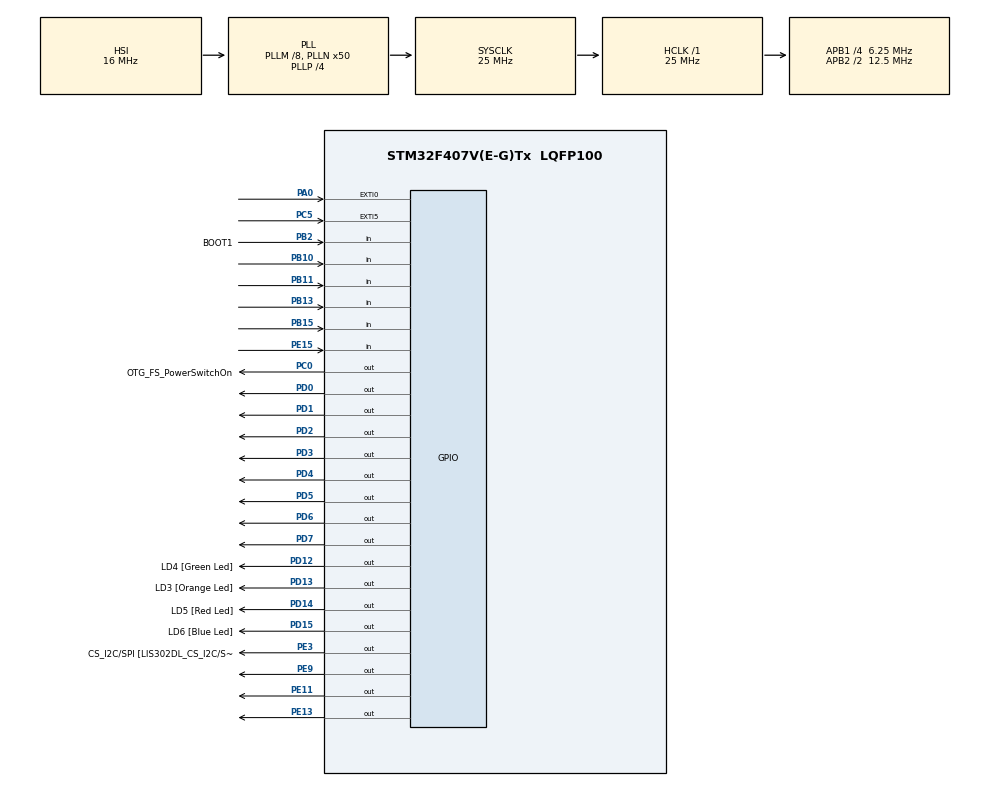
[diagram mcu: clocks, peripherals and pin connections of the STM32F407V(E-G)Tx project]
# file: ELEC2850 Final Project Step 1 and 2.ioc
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Mcu.Family=STM32F4
Mcu.Name=STM32F407V(E-G)Tx
Mcu.Package=LQFP100
NVIC.EXTI0_IRQn=true\:0\:0\:true\:false\:true\:true\:true\:true
NVIC.EXTI9_5_IRQn=true\:0\:1\:false\:false\:true\:true\:true\:true
NVIC.PriorityGroup=NVIC_PRIORITYGROUP_0
PA0-WKUP.GPIO_ModeDefaultEXTI=GPIO_MODE_IT_RISING
PA0-WKUP.GPIO_PuPd=GPIO_PULLDOWN
PA0-WKUP.Signal=GPXTI0
PA10.GPIO_Label=OTG_FS_ID
PA10.GPIO_Mode=GPIO_MODE_AF_PP
PA10.GPIO_PuPd=GPIO_NOPULL
PA10.GPIO_Speed=GPIO_SPEED_FREQ_LOW
PA10.Signal=USB_OTG_FS_ID
PA11.GPIO_Label=OTG_FS_DM
PA11.GPIO_Mode=GPIO_MODE_AF_PP
PA11.GPIO_PuPd=GPIO_NOPULL
PA11.GPIO_Speed=GPIO_SPEED_FREQ_LOW
PA11.Signal=USB_OTG_FS_DM
PA12.GPIO_Label=OTG_FS_DP
PA12.GPIO_Mode=GPIO_MODE_AF_PP
PA12.GPIO_PuPd=GPIO_NOPULL
PA12.GPIO_Speed=GPIO_SPEED_FREQ_LOW
PA12.Signal=USB_OTG_FS_DP
PA13.GPIO_Label=SWDIO
PA13.Signal=SYS_JTMS-SWDIO
PA14.GPIO_Label=SWCLK
PA14.Signal=SYS_JTCK-SWCLK
PA4.GPIO_Label=I2S3_WS [CS43L22_LRCK]
PA4.GPIO_Mode=GPIO_MODE_AF_PP
PA4.GPIO_PuPd=GPIO_NOPULL
PA4.GPIO_Speed=GPIO_SPEED_FREQ_LOW
PA4.Signal=I2S3_WS
PA5.GPIO_Label=SPI1_SCK [LIS302DL_SCL/SPC]
PA5.GPIO_Mode=GPIO_MODE_AF_PP
PA5.GPIO_PuPd=GPIO_NOPULL
PA5.GPIO_Speed=GPIO_SPEED_FREQ_LOW
PA5.Signal=SPI1_SCK
PA6.GPIO_Label=SPI1_MISO [LIS302DL_SDO]
PA6.GPIO_Mode=GPIO_MODE_AF_PP
PA6.GPIO_PuPd=GPIO_NOPULL
PA6.GPIO_Speed=GPIO_SPEED_FREQ_LOW
PA6.Signal=SPI1_MISO
PA7.GPIO_Label=SPI1_MOSI [LIS302DL_SDA/SDI/SDO]
PA7.GPIO_Mode=GPIO_MODE_AF_PP
PA7.GPIO_PuPd=GPIO_NOPULL
PA7.GPIO_Speed=GPIO_SPEED_FREQ_LOW
PA7.Signal=SPI1_MOSI
PA9.GPIO_Label=VBUS_FS
PA9.GPIO_Mode=GPIO_MODE_INPUT
PA9.GPIO_PuPd=GPIO_NOPULL
PA9.Signal=USB_OTG_FS_VBUS
PB10.GPIO_PuPd=GPIO_PULLDOWN
PB10.Signal=GPIO_Input
PB11.GPIO_PuPd=GPIO_PULLDOWN
PB11.Signal=GPIO_Input
PB13.GPIO_PuPd=GPIO_PULLDOWN
PB13.Signal=GPIO_Input
PB15.GPIO_PuPd=GPIO_PULLDOWN
PB15.Signal=GPIO_Input
PB2.GPIO_Label=BOOT1
PB2.GPIO_Mode=GPIO_MODE_INPUT
PB2.GPIO_PuPd=GPIO_NOPULL
PB2.Signal=GPIO_Input
PB3.GPIO_Label=SWO
PB3.Signal=SYS_JTDO-SWO
PB6.GPIO_Label=Audio_SCL [CS43L22_SCL]
PB6.GPIO_Mode=GPIO_MODE_AF_OD
PB6.GPIO_PuPd=GPIO_NOPULL
PB6.GPIO_Speed=GPIO_SPEED_FREQ_LOW
PB6.Signal=I2C1_SCL
PB9.GPIO_Label=Audio_SDA [CS43L22_SDA]
PB9.GPIO_Mode=GPIO_MODE_AF_OD
PB9.GPIO_PuPd=GPIO_NOPULL
PB9.GPIO_Speed=GPIO_SPEED_FREQ_LOW
PB9.Signal=I2C1_SDA
PC0.GPIO_Label=OTG_FS_PowerSwitchOn
PC0.GPIO_PuPd=GPIO_NOPULL
PC0.GPIO_Speed=GPIO_SPEED_FREQ_LOW
PC0.PinState=GPIO_PIN_SET
PC0.Signal=GPIO_Output
PC10.GPIO_Label=I2S3_SCK [CS43L22_SCLK]
PC10.GPIO_Mode=GPIO_MODE_AF_PP
PC10.GPIO_PuPd=GPIO_NOPULL
PC10.GPIO_Speed=GPIO_SPEED_FREQ_LOW
PC10.Signal=I2S3_CK
PC12.GPIO_Label=I2S3_SD [CS43L22_SDIN]
PC12.GPIO_Mode=GPIO_MODE_AF_PP
PC12.GPIO_PuPd=GPIO_NOPULL
PC12.GPIO_Speed=GPIO_SPEED_FREQ_LOW
PC12.Signal=I2S3_SD
PC14-OSC32_IN.GPIO_Label=PC14-OSC32_IN
PC14-OSC32_IN.Signal=RCC_OSC32_IN
PC15-OSC32_OUT.GPIO_Label=PC15-OSC32_OUT
PC15-OSC32_OUT.Signal=RCC_OSC32_OUT
PC3.GPIO_Label=PDM_OUT [MP45DT02_DOUT]
PC3.GPIO_Mode=GPIO_MODE_AF_PP
PC3.GPIO_PuPd=GPIO_NOPULL
PC3.GPIO_Speed=GPIO_SPEED_FREQ_LOW
PC3.Signal=I2S2_SD
PC5.Signal=GPXTI5
PC7.GPIO_Label=I2S3_MCK [CS43L22_MCLK]
PC7.GPIO_Mode=GPIO_MODE_AF_PP
PC7.GPIO_PuPd=GPIO_NOPULL
PC7.GPIO_Speed=GPIO_SPEED_FREQ_LOW
PC7.Signal=I2S3_MCK
PD0.Signal=GPIO_Output
PD1.Signal=GPIO_Output
PD12.GPIO_Label=LD4 [Green Led]
PD12.GPIO_PuPd=GPIO_NOPULL
PD12.GPIO_Speed=GPIO_SPEED_FREQ_LOW
PD12.Signal=GPIO_Output
PD13.GPIO_Label=LD3 [Orange Led]
PD13.GPIO_PuPd=GPIO_PULLDOWN
PD13.GPIO_Speed=GPIO_SPEED_FREQ_LOW
PD13.Signal=GPIO_Output
PD14.GPIO_Label=LD5 [Red Led]
PD14.GPIO_PuPd=GPIO_NOPULL
PD14.GPIO_Speed=GPIO_SPEED_FREQ_LOW
PD14.Signal=GPIO_Output
PD15.GPIO_Label=LD6 [Blue Led]
PD15.GPIO_PuPd=GPIO_NOPULL
PD15.GPIO_Speed=GPIO_SPEED_FREQ_LOW
PD15.Signal=GPIO_Output
PD2.Signal=GPIO_Output
PD3.Signal=GPIO_Output
PD4.Signal=GPIO_Output
PD5.Signal=GPIO_Output
PD6.Signal=GPIO_Output
PD7.Signal=GPIO_Output
PE11.Signal=GPIO_Output
PE13.Signal=GPIO_Output
PE15.Signal=GPIO_Input
PE3.GPIO_Label=CS_I2C/SPI [LIS302DL_CS_I2C/SPI]
PE3.GPIO_PuPd=GPIO_NOPULL
PE3.GPIO_Speed=GPIO_SPEED_FREQ_LOW
PE3.Signal=GPIO_Output
PE9.Signal=GPIO_Output
PH0-OSC_IN.GPIO_Label=PH0-OSC_IN
PH0-OSC_IN.Signal=RCC_OSC_IN
PH1-OSC_OUT.GPIO_Label=PH1-OSC_OUT
PH1-OSC_OUT.Signal=RCC_OSC_OUT
ProjectManager.HeapSize=0x200
ProjectManager.StackSize=0x400
ProjectManager.TargetToolchain=STM32CubeIDE
RCC.48MHZClocksFreq_Value=14285714.285714285
RCC.AHBFreq_Value=25000000
RCC.APB1CLKDivider=RCC_HCLK_DIV4
RCC.APB1Freq_Value=6250000
RCC.APB1TimFreq_Value=12500000
RCC.APB2CLKDivider=RCC_HCLK_DIV2
RCC.APB2Freq_Value=12500000
RCC.APB2TimFreq_Value=25000000
RCC.CortexFreq_Value=25000000
RCC.HCLKFreq_Value=25000000
RCC.HSE_VALUE=8000000
RCC.HSI_VALUE=16000000
RCC.LSE_VALUE=32768
RCC.PLLM=8
RCC.PLLN=50
RCC.PLLP=RCC_PLLP_DIV4
RCC.PLLQ=7
RCC.SYSCLKFreq_VALUE=25000000
RCC.SYSCLKSource=RCC_SYSCLKSOURCE_PLLCLK
RCC.VCOOutputFreq_Value=100000000
board=STM32F407G-DISC1

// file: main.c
/* USER CODE BEGIN Header */
/**
  ******************************************************************************
  * @file           : main.c
  * @brief          : Main program body
  ******************************************************************************
  * @attention
  *
  * Copyright (c) 2023 STMicroelectronics.
  * All rights reserved.
  *
  * This software is licensed under terms that can be found in the LICENSE file
  * in the root directory of this software component.
  * If no LICENSE file comes with this software, it is provided AS-IS.
  *
  ******************************************************************************
  */
/* USER CODE END Header */
#include "main.h"

/* USER CODE BEGIN Includes */
#include "projectfunctions.h"
/* USER CODE END Includes */

void SystemClock_Config(void);
static void MX_GPIO_Init(void);

int main(void)
{

  /* MCU Configuration--------------------------------------------------------*/

  /* Reset of all peripherals, Initializes the Flash interface and the Systick. */
  HAL_Init();

  /* Configure the system clock */
  SystemClock_Config();

  /* Initialize all configured peripherals */
  MX_GPIO_Init();

  /* Infinite loop */
  /* USER CODE BEGIN WHILE */
  column_signal_adjuster(0); //Send power to all the column pins
  seven_segment_control(10); //Sets every pine on the 7seg to 1 - which is off, since it is active low
  uint8_t keyPressed;
  while (1)
  {
	  	HAL_GPIO_WritePin(GPIOD, GPIO_PIN_15, 1);
		if (HAL_GPIO_ReadPin(GPIOB, GPIO_PIN_15) == 1)
		{
			keyPressed = key_finder_function(GPIO_PIN_15);
			seven_segment_control(keyPressed);
			led_blinker(keyPressed);
			while (HAL_GPIO_ReadPin(GPIOB, GPIO_PIN_15) == 1);
		}
		else if (HAL_GPIO_ReadPin(GPIOB, GPIO_PIN_13) == 1)
		{
			keyPressed = key_finder_function(GPIO_PIN_13);
			seven_segment_control(keyPressed);
			led_blinker(keyPressed);
			while (HAL_GPIO_ReadPin(GPIOB, GPIO_PIN_13) == 1);
		}
		else if (HAL_GPIO_ReadPin(GPIOB, GPIO_PIN_11) == 1)
		{
			keyPressed = key_finder_function(GPIO_PIN_11);
			seven_segment_control(keyPressed);
			led_blinker(keyPressed);
			while (HAL_GPIO_ReadPin(GPIOB, GPIO_PIN_11) == 1);
		}
		else if (HAL_GPIO_ReadPin(GPIOB, GPIO_PIN_10) == 1)
		{
			keyPressed = key_finder_function(GPIO_PIN_10);
			seven_segment_control(keyPressed);
			led_blinker(keyPressed);
			while (HAL_GPIO_ReadPin(GPIOB, GPIO_PIN_10) == 1);
		}
  }
    /* USER CODE END WHILE */

}

void SystemClock_Config(void)
{
  RCC_OscInitTypeDef RCC_OscInitStruct = {0};
  RCC_ClkInitTypeDef RCC_ClkInitStruct = {0};

  /** Configure the main internal regulator output voltage
  */
  __HAL_RCC_PWR_CLK_ENABLE();
  __HAL_PWR_VOLTAGESCALING_CONFIG(PWR_REGULATOR_VOLTAGE_SCALE1);

  /** Initializes the RCC Oscillators according to the specified parameters
  * in the RCC_OscInitTypeDef structure.
  */
  RCC_OscInitStruct.OscillatorType = RCC_OSCILLATORTYPE_HSI;
  RCC_OscInitStruct.HSIState = RCC_HSI_ON;
  RCC_OscInitStruct.HSICalibrationValue = RCC_HSICALIBRATION_DEFAULT;
  RCC_OscInitStruct.PLL.PLLState = RCC_PLL_ON;
  RCC_OscInitStruct.PLL.PLLSource = RCC_PLLSOURCE_HSI;
  RCC_OscInitStruct.PLL.PLLM = 8;
  RCC_OscInitStruct.PLL.PLLN = 50;
  RCC_OscInitStruct.PLL.PLLP = RCC_PLLP_DIV4;
  RCC_OscInitStruct.PLL.PLLQ = 7;
  if (HAL_RCC_OscConfig(&RCC_OscInitStruct) != HAL_OK)
  {
    Error_Handler();
  }

  /** Initializes the CPU, AHB and APB buses clocks
  */
  RCC_ClkInitStruct.ClockType = RCC_CLOCKTYPE_HCLK|RCC_CLOCKTYPE_SYSCLK
                              |RCC_CLOCKTYPE_PCLK1|RCC_CLOCKTYPE_PCLK2;
  RCC_ClkInitStruct.SYSCLKSource = RCC_SYSCLKSOURCE_PLLCLK;
  RCC_ClkInitStruct.AHBCLKDivider = RCC_SYSCLK_DIV1;
  RCC_ClkInitStruct.APB1CLKDivider = RCC_HCLK_DIV4;
  RCC_ClkInitStruct.APB2CLKDivider = RCC_HCLK_DIV2;

  if (HAL_RCC_ClockConfig(&RCC_ClkInitStruct, FLASH_LATENCY_0) != HAL_OK)
  {
    Error_Handler();
  }
}

static void MX_GPIO_Init(void)
{
  GPIO_InitTypeDef GPIO_InitStruct = {0};

  /* GPIO Ports Clock Enable */
  __HAL_RCC_GPIOE_CLK_ENABLE();
  __HAL_RCC_GPIOC_CLK_ENABLE();
  __HAL_RCC_GPIOH_CLK_ENABLE();
  __HAL_RCC_GPIOA_CLK_ENABLE();
  __HAL_RCC_GPIOB_CLK_ENABLE();
  __HAL_RCC_GPIOD_CLK_ENABLE();

  /*Configure GPIO pin Output Level */
  HAL_GPIO_WritePin(GPIOE, CS_I2C_SPI_Pin|GPIO_PIN_9|GPIO_PIN_11|GPIO_PIN_13, GPIO_PIN_RESET);

  /*Configure GPIO pin Output Level */
  HAL_GPIO_WritePin(OTG_FS_PowerSwitchOn_GPIO_Port, OTG_FS_PowerSwitchOn_Pin, GPIO_PIN_SET);

  /*Configure GPIO pin Output Level */
  HAL_GPIO_WritePin(GPIOD, LD4_Pin|LD3_Pin|LD5_Pin|LD6_Pin
                          |GPIO_PIN_0|GPIO_PIN_1|GPIO_PIN_2|GPIO_PIN_3
                          |GPIO_PIN_4|GPIO_PIN_5|GPIO_PIN_6|GPIO_PIN_7, GPIO_PIN_RESET);

  /*Configure GPIO pins : CS_I2C_SPI_Pin PE9 PE11 PE13 */
  GPIO_InitStruct.Pin = CS_I2C_SPI_Pin|GPIO_PIN_9|GPIO_PIN_11|GPIO_PIN_13;
  GPIO_InitStruct.Mode = GPIO_MODE_OUTPUT_PP;
  GPIO_InitStruct.Pull = GPIO_NOPULL;
  GPIO_InitStruct.Speed = GPIO_SPEED_FREQ_LOW;
  HAL_GPIO_Init(GPIOE, &GPIO_InitStruct);

  /*Configure GPIO pin : OTG_FS_PowerSwitchOn_Pin */
  GPIO_InitStruct.Pin = OTG_FS_PowerSwitchOn_Pin;
  GPIO_InitStruct.Mode = GPIO_MODE_OUTPUT_PP;
  GPIO_InitStruct.Pull = GPIO_NOPULL;
  GPIO_InitStruct.Speed = GPIO_SPEED_FREQ_LOW;
  HAL_GPIO_Init(OTG_FS_PowerSwitchOn_GPIO_Port, &GPIO_InitStruct);

  /*Configure GPIO pin : PDM_OUT_Pin */
  GPIO_InitStruct.Pin = PDM_OUT_Pin;
  GPIO_InitStruct.Mode = GPIO_MODE_AF_PP;
  GPIO_InitStruct.Pull = GPIO_NOPULL;
  GPIO_InitStruct.Speed = GPIO_SPEED_FREQ_LOW;
  GPIO_InitStruct.Alternate = GPIO_AF5_SPI2;
  HAL_GPIO_Init(PDM_OUT_GPIO_Port, &GPIO_InitStruct);

  /*Configure GPIO pin : PA0 */
  GPIO_InitStruct.Pin = GPIO_PIN_0;
  GPIO_InitStruct.Mode = GPIO_MODE_IT_RISING;
  GPIO_InitStruct.Pull = GPIO_PULLDOWN;
  HAL_GPIO_Init(GPIOA, &GPIO_InitStruct);

  /*Configure GPIO pin : I2S3_WS_Pin */
  GPIO_InitStruct.Pin = I2S3_WS_Pin;
  GPIO_InitStruct.Mode = GPIO_MODE_AF_PP;
  GPIO_InitStruct.Pull = GPIO_NOPULL;
  GPIO_InitStruct.Speed = GPIO_SPEED_FREQ_LOW;
  GPIO_InitStruct.Alternate = GPIO_AF6_SPI3;
  HAL_GPIO_Init(I2S3_WS_GPIO_Port, &GPIO_InitStruct);

  /*Configure GPIO pins : SPI1_SCK_Pin SPI1_MISO_Pin SPI1_MOSI_Pin */
  GPIO_InitStruct.Pin = SPI1_SCK_Pin|SPI1_MISO_Pin|SPI1_MOSI_Pin;
  GPIO_InitStruct.Mode = GPIO_MODE_AF_PP;
  GPIO_InitStruct.Pull = GPIO_NOPULL;
  GPIO_InitStruct.Speed = GPIO_SPEED_FREQ_LOW;
  GPIO_InitStruct.Alternate = GPIO_AF5_SPI1;
  HAL_GPIO_Init(GPIOA, &GPIO_InitStruct);

  /*Configure GPIO pin : PC5 */
  GPIO_InitStruct.Pin = GPIO_PIN_5;
  GPIO_InitStruct.Mode = GPIO_MODE_IT_RISING;
  GPIO_InitStruct.Pull = GPIO_NOPULL;
  HAL_GPIO_Init(GPIOC, &GPIO_InitStruct);

  /*Configure GPIO pin : BOOT1_Pin */
  GPIO_InitStruct.Pin = BOOT1_Pin;
  GPIO_InitStruct.Mode = GPIO_MODE_INPUT;
  GPIO_InitStruct.Pull = GPIO_NOPULL;
  HAL_GPIO_Init(BOOT1_GPIO_Port, &GPIO_InitStruct);

  /*Configure GPIO pin : PE15 */
  GPIO_InitStruct.Pin = GPIO_PIN_15;
  GPIO_InitStruct.Mode = GPIO_MODE_INPUT;
  GPIO_InitStruct.Pull = GPIO_NOPULL;
  HAL_GPIO_Init(GPIOE, &GPIO_InitStruct);

  /*Configure GPIO pins : PB10 PB11 PB13 PB15 */
  GPIO_InitStruct.Pin = GPIO_PIN_10|GPIO_PIN_11|GPIO_PIN_13|GPIO_PIN_15;
  GPIO_InitStruct.Mode = GPIO_MODE_INPUT;
  GPIO_InitStruct.Pull = GPIO_PULLDOWN;
  HAL_GPIO_Init(GPIOB, &GPIO_InitStruct);

  /*Configure GPIO pins : LD4_Pin LD5_Pin LD6_Pin PD0
                           PD1 PD2 PD3 PD4
                           PD5 PD6 PD7 */
  GPIO_InitStruct.Pin = LD4_Pin|LD5_Pin|LD6_Pin|GPIO_PIN_0
                          |GPIO_PIN_1|GPIO_PIN_2|GPIO_PIN_3|GPIO_PIN_4
                          |GPIO_PIN_5|GPIO_PIN_6|GPIO_PIN_7;
  GPIO_InitStruct.Mode = GPIO_MODE_OUTPUT_PP;
  GPIO_InitStruct.Pull = GPIO_NOPULL;
  GPIO_InitStruct.Speed = GPIO_SPEED_FREQ_LOW;
  HAL_GPIO_Init(GPIOD, &GPIO_InitStruct);

  /*Configure GPIO pin : LD3_Pin */
  GPIO_InitStruct.Pin = LD3_Pin;
  GPIO_InitStruct.Mode = GPIO_MODE_OUTPUT_PP;
  GPIO_InitStruct.Pull = GPIO_PULLDOWN;
  GPIO_InitStruct.Speed = GPIO_SPEED_FREQ_LOW;
  HAL_GPIO_Init(LD3_GPIO_Port, &GPIO_InitStruct);

  /*Configure GPIO pins : I2S3_MCK_Pin I2S3_SCK_Pin I2S3_SD_Pin */
  GPIO_InitStruct.Pin = I2S3_MCK_Pin|I2S3_SCK_Pin|I2S3_SD_Pin;
  GPIO_InitStruct.Mode = GPIO_MODE_AF_PP;
  GPIO_InitStruct.Pull = GPIO_NOPULL;
  GPIO_InitStruct.Speed = GPIO_SPEED_FREQ_LOW;
  GPIO_InitStruct.Alternate = GPIO_AF6_SPI3;
  HAL_GPIO_Init(GPIOC, &GPIO_InitStruct);

  /*Configure GPIO pin : VBUS_FS_Pin */
  GPIO_InitStruct.Pin = VBUS_FS_Pin;
  GPIO_InitStruct.Mode = GPIO_MODE_INPUT;
  GPIO_InitStruct.Pull = GPIO_NOPULL;
  HAL_GPIO_Init(VBUS_FS_GPIO_Port, &GPIO_InitStruct);

  /*Configure GPIO pins : OTG_FS_ID_Pin OTG_FS_DM_Pin OTG_FS_DP_Pin */
  GPIO_InitStruct.Pin = OTG_FS_ID_Pin|OTG_FS_DM_Pin|OTG_FS_DP_Pin;
  GPIO_InitStruct.Mode = GPIO_MODE_AF_PP;
  GPIO_InitStruct.Pull = GPIO_NOPULL;
  GPIO_InitStruct.Speed = GPIO_SPEED_FREQ_LOW;
  GPIO_InitStruct.Alternate = GPIO_AF10_OTG_FS;
  HAL_GPIO_Init(GPIOA, &GPIO_InitStruct);

  /*Configure GPIO pins : Audio_SCL_Pin Audio_SDA_Pin */
  GPIO_InitStruct.Pin = Audio_SCL_Pin|Audio_SDA_Pin;
  GPIO_InitStruct.Mode = GPIO_MODE_AF_OD;
  GPIO_InitStruct.Pull = GPIO_NOPULL;
  GPIO_InitStruct.Speed = GPIO_SPEED_FREQ_LOW;
  GPIO_InitStruct.Alternate = GPIO_AF4_I2C1;
  HAL_GPIO_Init(GPIOB, &GPIO_InitStruct);

  /* EXTI interrupt init*/
  HAL_NVIC_SetPriority(EXTI0_IRQn, 0, 0);
  HAL_NVIC_EnableIRQ(EXTI0_IRQn);

  HAL_NVIC_SetPriority(EXTI9_5_IRQn, 0, 1);
  HAL_NVIC_EnableIRQ(EXTI9_5_IRQn);

}

void Error_Handler(void)
{
  __disable_irq();
  while (1)
  {
  }
}
